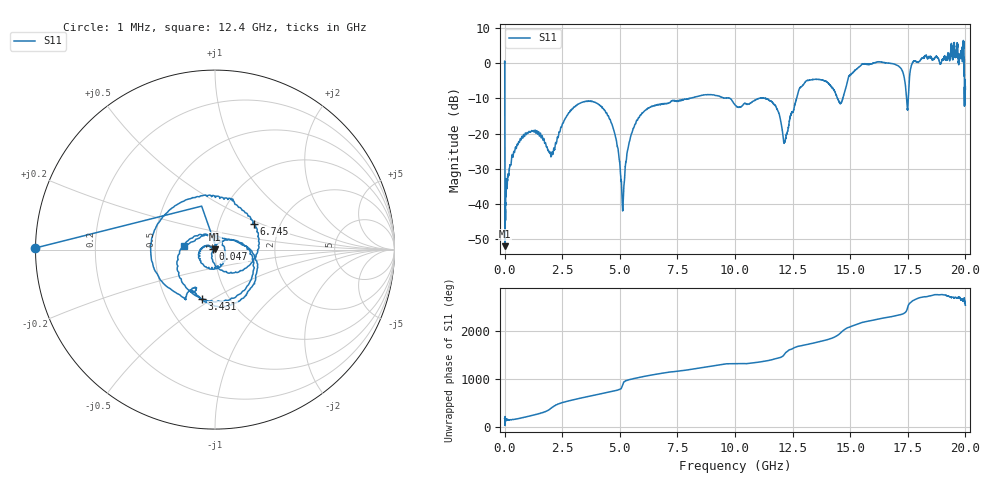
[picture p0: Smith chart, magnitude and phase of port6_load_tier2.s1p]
! Created with skrf 1.8.0 (http://scikit-rf.org).
# GHz S RI R 50.0
!freq ReS11 ImS11
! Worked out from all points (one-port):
!   10001 points, 1 MHz to 20 GHz, reference 50 ohm
!   lowest |S11| = -52.1 dB at 19 MHz (marker M1), VSWR 1.00, Z = 50.1 + j0.225 ohm
!   |S11| at or under -10 dB: 8.665 MHz to 7.993 GHz (7.984 GHz wide, 200 % of centre); 9.786 GHz to 11.03 GHz (1.24 GHz wide, 11.9 % of centre); 11.34 GHz to 12.67 GHz (1.332 GHz wide, 11.1 % of centre) (the widest 3 of 13)
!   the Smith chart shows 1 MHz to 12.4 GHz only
!   S11 on the Smith chart (normalised r, x): 1 MHz: -0.00, +0.00; 47 MHz: 0.98, +0.01; 3.431 GHz: 0.75, -0.45; 6.745 GHz: 1.47, +0.46; 12.4 GHz: 0.70, +0.02
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0.001  -1.002 0.00873
0.0189991  0.00108 0.00225
0.0469977  -0.0124 0.00495
0.1169942  -0.0152 0.0111
0.8289586  -0.0921 -0.0301
2.500875  -0.1113 0.0761
3.430829  -0.0726 -0.2745
5.00075  0.016 0.0344
6.744663  0.2177 0.1451
7.500625  0.0432 0.2889
10.0005  -0.1292 -0.2198
12.39838  -0.175 0.0169
12.50038  -0.1967 -0.0403
13.20434  0.1747 -0.5477
13.82831  0.573 -0.0266
14.32828  0.0966 0.3846
14.68027  -0.2906 -0.1302
15.00025  0.2014 -0.6495
15.49823  0.924 0.2677
16.17619  0.0696 1.04
17.06615  -0.9074 0.1943
17.50013  0.236 -0.0629
17.73211  -0.4884 0.9363
18.21209  -1.167 -0.2807
18.74006  -0.6482 -1.077
19.57602  -1.252 -0.0197
19.87201  -0.5235 0.9165
20  0.3983 0.1546
